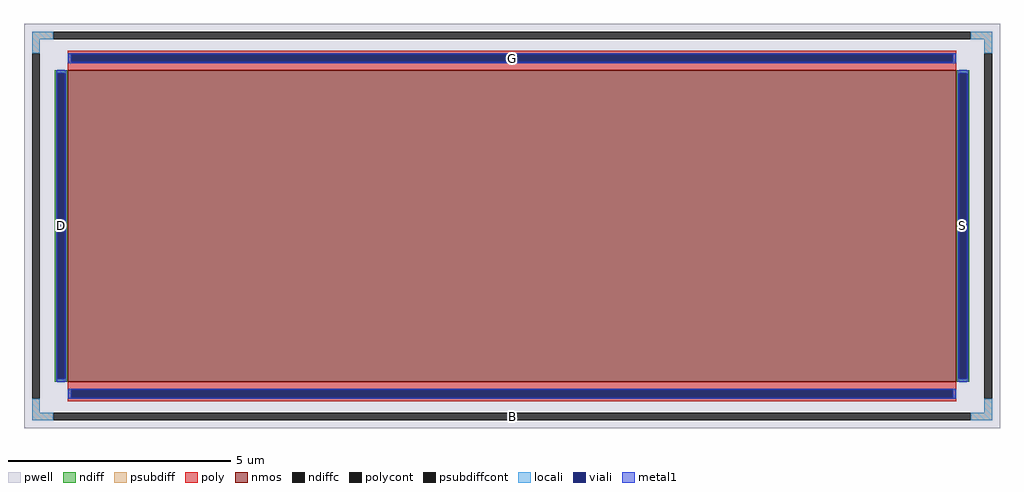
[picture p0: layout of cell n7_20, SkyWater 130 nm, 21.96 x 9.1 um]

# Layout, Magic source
magic
tech sky130A
magscale 1 2
<< pwell >>
rect -2196 -910 2196 910
<< nmos >>
rect -2000 -700 2000 700
<< ndiff >>
rect -2058 688 -2000 700
rect -2058 -688 -2046 688
rect -2012 -688 -2000 688
rect -2058 -700 -2000 -688
rect 2000 688 2058 700
rect 2000 -688 2012 688
rect 2046 -688 2058 688
rect 2000 -700 2058 -688
<< ndiffc >>
rect -2046 -688 -2012 688
rect 2012 -688 2046 688
<< psubdiff >>
rect -2160 840 -2064 874
rect 2064 840 2160 874
rect -2160 778 -2126 840
rect 2126 778 2160 840
rect -2160 -840 -2126 -778
rect 2126 -840 2160 -778
rect -2160 -874 -2064 -840
rect 2064 -874 2160 -840
<< psubdiffcont >>
rect -2064 840 2064 874
rect -2160 -778 -2126 778
rect 2126 -778 2160 778
rect -2064 -874 2064 -840
<< poly >>
rect -2000 772 2000 788
rect -2000 738 -1984 772
rect 1984 738 2000 772
rect -2000 700 2000 738
rect -2000 -738 2000 -700
rect -2000 -772 -1984 -738
rect 1984 -772 2000 -738
rect -2000 -788 2000 -772
<< polycont >>
rect -1984 738 1984 772
rect -1984 -772 1984 -738
<< locali >>
rect -2160 840 -2064 874
rect 2064 840 2160 874
rect -2160 778 -2126 840
rect 2126 778 2160 840
rect -2000 738 -1984 772
rect 1984 738 2000 772
rect -2046 688 -2012 704
rect -2046 -704 -2012 -688
rect 2012 688 2046 704
rect 2012 -704 2046 -688
rect -2000 -772 -1984 -738
rect 1984 -772 2000 -738
rect -2160 -840 -2126 -778
rect 2126 -840 2160 -778
rect -2160 -874 -2064 -840
rect 2064 -874 2160 -840
<< viali >>
rect -1984 738 1984 772
rect -2046 -688 -2012 688
rect 2012 -688 2046 688
rect -1984 -772 1984 -738
<< metal1 >>
rect -1996 772 1996 778
rect -1996 738 -1984 772
rect 1984 738 1996 772
rect -1996 732 1996 738
rect -2052 688 -2006 700
rect -2052 -688 -2046 688
rect -2012 -688 -2006 688
rect -2052 -700 -2006 -688
rect 2006 688 2052 700
rect 2006 -688 2012 688
rect 2046 -688 2052 688
rect 2006 -700 2052 -688
rect -1996 -738 1996 -732
rect -1996 -772 -1984 -738
rect 1984 -772 1996 -738
rect -1996 -778 1996 -772
<< labels >>
rlabel psubdiffcont 0 -857 0 -857 0 B
port 1 nsew
rlabel ndiffc -2029 0 -2029 0 0 D
port 2 nsew
rlabel ndiffc 2029 0 2029 0 0 S
port 3 nsew
rlabel polycont 0 755 0 755 0 G
port 4 nsew
<< properties >>
string FIXED_BBOX -2143 -857 2143 857
string gencell sky130_fd_pr__nfet_01v8
string library sky130
string parameters w 7 l 20 m 1 nf 1 diffcov 100 polycov 100 guard 1 glc 1 grc 1 gtc 1 gbc 1 tbcov 100 rlcov 100 topc 1 botc 1 poverlap 0 doverlap 1 lmin 0.15 wmin 0.42 class mosfet compatible {sky130_fd_pr__nfet_01v8 sky130_fd_pr__nfet_01v8_lvt  sky130_fd_bs_flash__special_sonosfet_star  sky130_fd_pr__nfet_g5v0d10v5 sky130_fd_pr__nfet_05v0_nvt  sky130_fd_pr__nfet_03v3_nvt} full_metal 1 conn_gates 0 viasrc 100 viadrn 100 viagate 100 viagb 0 viagr 0 viagl 0 viagt 0 doports 1
<< end >>
